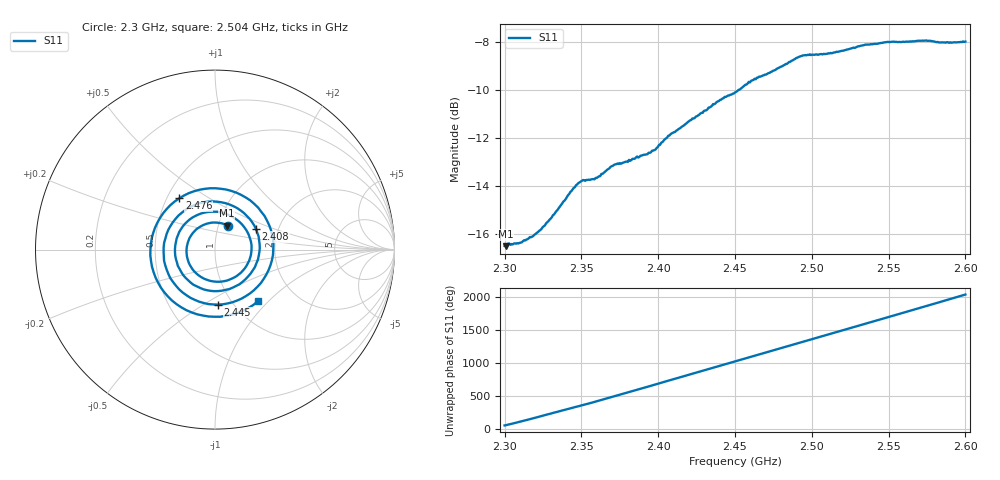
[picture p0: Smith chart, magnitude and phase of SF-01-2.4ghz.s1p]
! NanoVNA-App
! Date: 2026-05-22 18:27:34
! Start: 2.3GHz Stop: 2.6GHz Points: 401
! S-Parameter data: F S11
# Hz S RI R 50
!  Frequency  S11_Real  S11_Imag
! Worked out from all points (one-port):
!   401 points, 2.3 GHz to 2.6 GHz, reference 50 ohm
!   lowest |S11| = -16.5 dB at 2.301 GHz (marker M1), VSWR 1.35, Z = 54.9 + j15 ohm
!   |S11| at or under -10 dB: start of sweep to 2.452 GHz
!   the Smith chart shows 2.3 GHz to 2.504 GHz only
!   S11 on the Smith chart (normalised r, x): 2.3 GHz: 1.12, +0.30; 2.408 GHz: 1.53, +0.38; 2.445 GHz: 0.85, -0.58; 2.476 GHz: 0.58, +0.38; 2.504 GHz: 1.30, -0.87
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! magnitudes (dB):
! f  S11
! 2.3 GHz  -16.5
! 2.301 GHz  -16.5
! 2.31 GHz  -16.4
! 2.319 GHz  -16.1
! 2.325 GHz  -15.7
! 2.337 GHz  -14.7
! 2.344 GHz  -14.2
! 2.349 GHz  -13.8
! 2.359 GHz  -13.7
! 2.37 GHz  -13.2
! 2.375 GHz  -13.1
! 2.394 GHz  -12.6
! 2.398 GHz  -12.5
! 2.408 GHz  -11.9
! 2.413 GHz  -11.7
! 2.437 GHz  -10.6
! 2.445 GHz  -10.3
! 2.45 GHz  -10.1
! 2.461 GHz  -9.6
! 2.476 GHz  -9.2
! 2.487 GHz  -8.8
! 2.494 GHz  -8.6
! 2.504 GHz  -8.5
! 2.525 GHz  -8.3
! 2.534 GHz  -8.1
! 2.548 GHz  -8.0
! 2.562 GHz  -8.0
! 2.6 GHz  -8.0
